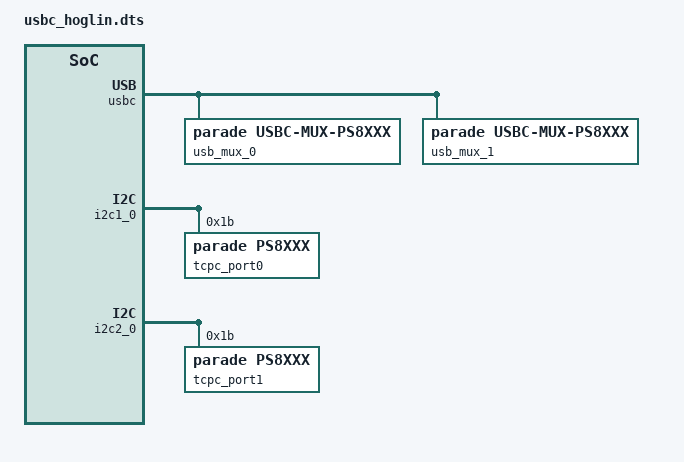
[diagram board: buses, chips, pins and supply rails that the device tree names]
/* Copyright 2022 The Chromium OS Authors. All rights reserved.
 * Use of this source code is governed by a BSD-style license that can be
 * found in the LICENSE file.
 */

/ {
	usbc {
		#address-cells = <1>;
		#size-cells = <0>;

		port0@0 {
			compatible = "named-usbc-port";
			reg = <0>;
			bc12 = <&bc12_port0>;
			ppc = <&ppc_port0>;
			tcpc = <&tcpc_port0>;
			chg = <&charger>;
			usb-muxes = <&usb_mux_0>;
		};
		usb_mux_0: usb-mux-0 {
			compatible = "parade,usbc-mux-ps8xxx";
		};

		port1@1 {
			compatible = "named-usbc-port";
			reg = <1>;
			bc12 = <&bc12_port1>;
			ppc = <&ppc_port1>;
			tcpc = <&tcpc_port1>;
			usb-muxes = <&usb_mux_1>;
		};
		usb_mux_1: usb-mux-1 {
			compatible = "parade,usbc-mux-ps8xxx";
		};
	};
};

&i2c1_0 {
	tcpc_port0: ps8xxx@1b {
		compatible = "parade,ps8xxx";
		reg = <0x1b>;
	};
};

&i2c2_0 {
	tcpc_port1: ps8xxx@1b {
		compatible = "parade,ps8xxx";
		reg = <0x1b>;
	};
};
